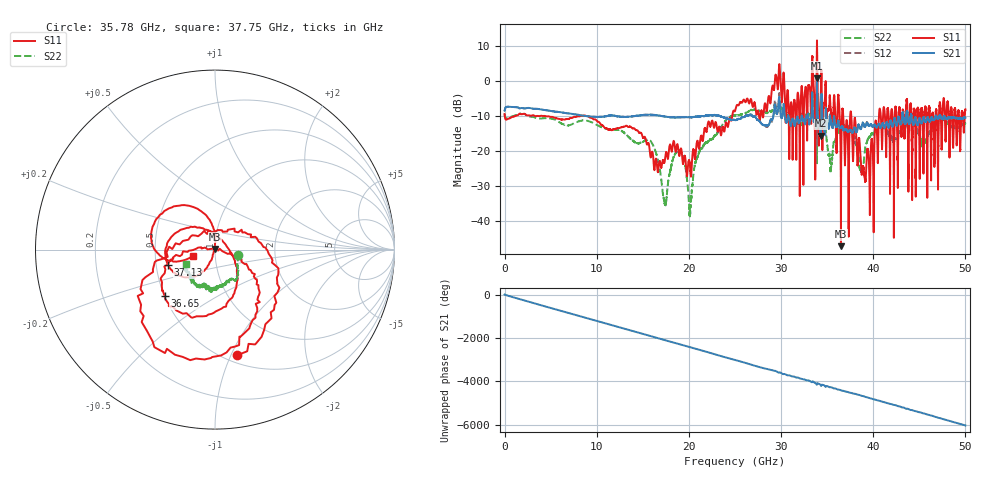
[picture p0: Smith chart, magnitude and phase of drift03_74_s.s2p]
!Created with skrf (http://scikit-rf.org).
# Hz S RI R 50.0
!freq ReS11 ImS11 ReS21 ImS21 ReS12 ImS12 ReS22 ImS22
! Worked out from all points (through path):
!   10001 points, 300 kHz to 50 GHz, reference 50 ohm
!   highest |S21| = 0.82 dB at 33.9 GHz (marker M1); lowest = -15.5 dB at 34.32 GHz (marker M2)
!   group delay of S21, straight-line fit = 335 ps
!   lowest |S11| = -47.0 dB at 36.5 GHz (marker M3), VSWR 1.01, Z = 49.7 + j0.357 ohm
!   |S11| at or under -10 dB: 4.471 GHz to 8.198 GHz (3.726 GHz wide, 58.8 % of centre); 9.013 GHz to 24.7 GHz (15.69 GHz wide, 93.1 % of centre); 37.62 GHz to 40.62 GHz (2.999 GHz wide, 7.67 % of centre) (the widest 3 of 59)
!   |S22| runs from -38.6 to -5.9 dB; largest |S21 - S12| = 0.11
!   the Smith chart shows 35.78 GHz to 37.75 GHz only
!   S11 on the Smith chart (normalised r, x): 35.78 GHz: 0.57, -1.06; 36.65 GHz: 0.50, -0.30; 37.13 GHz: 0.58, -0.11; 37.75 GHz: 0.78, -0.05
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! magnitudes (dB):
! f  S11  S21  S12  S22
! 300 kHz  -9.4  -8.5  -8.5  -9.3
! 8.335 GHz  -9.9  -9.8  -9.8  -11.3
! 16.67 GHz  -25.4  -9.8  -9.8  -23.1
! 17.4 GHz  -22.4  -10.1  -10.1  -35.0
! 19.1 GHz  -19.4  -10.3  -10.3  -20.2
! 20.13 GHz  -24.6  -10.3  -10.3  -36.4
! 21.19 GHz  -17.9  -10.1  -10.1  -19.8
! 25 GHz  -8.6  -11.1  -11.1  -9.8
! 27.86 GHz  -8.4  -12.1  -12.2  -8.7
! 29.66 GHz  -2.3  -8.3  -8.4  -7.1
! 31.08 GHz  -6.1  -12.6  -12.7  -10.5
! 33.34 GHz  0.6  -7.4  -7.5  -9.3
! 33.9 GHz  11.6  0.8  0.4  -23.4
! 34.32 GHz  -2.9  -15.5  -14.9  -11.2
! 35.78 GHz  -4.4  -10.3  -10.7  -17.5
! 36.5 GHz  -47.0  -13.3  -13.3  -14.0
! 36.65 GHz  -8.4  -13.1  -12.8  -13.3
! 37.13 GHz  -11.2  -13.9  -13.9  -13.4
! 37.75 GHz  -17.8  -14.7  -14.7  -14.8
! 38.98 GHz  -25.8  -12.5  -12.6  -23.0
! 41.67 GHz  -9.4  -13.3  -13.2  -14.9
! 50 GHz  -8.1  -10.5  -10.6  -12.2
